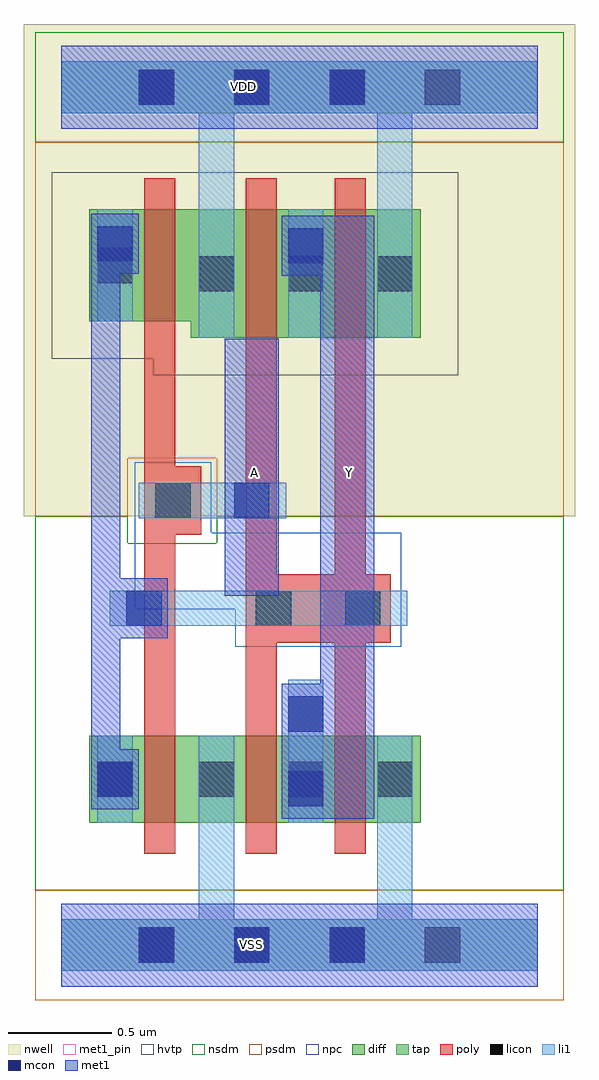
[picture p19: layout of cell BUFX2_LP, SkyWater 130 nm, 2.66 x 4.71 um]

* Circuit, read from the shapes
.subckt BUFX2_LP A VDD VSS Y
XM1 VSS A n1 VSS sky130_fd_pr__nfet_01v8 w=0.42 l=0.15
XM2 Y n1 VSS VSS sky130_fd_pr__nfet_01v8 w=0.42 l=0.15 m=2
XM3 VDD A n1 VDD sky130_fd_pr__pfet_01v8_hvt w=0.54 l=0.15
XM4 Y n1 VDD VDD sky130_fd_pr__pfet_01v8_hvt w=0.62 l=0.15 m=2
.ends

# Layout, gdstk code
from math import pi, radians
import gdstk
lib = gdstk.Library(unit=1e-6, precision=1e-09)
def R(c, l, rs):  # rectangles x0, y0, x1, y1
    for r in rs: c.add(gdstk.rectangle(r[:2], r[2:], *l))
def A(c, l, x, y, w, h, nx, ny, dx, dy):  # array of equal rectangles
    R(c, l, [(x+i*dx, y+j*dy, x+i*dx+w, y+j*dy+h) for i in range(nx) for j in range(ny)])
def P(c, l, *ps):  # polygons
    for p in ps: c.add(gdstk.Polygon(p, *l))
nwell = (64, 20)
diff = (65, 20)
tap = (65, 44)
poly = (66, 20)
licon = (66, 44)
li1 = (67, 20)
mcon = (67, 44)
met1_pin = (68, 16)
met1 = (68, 20)
hvtp = (78, 44)
nsdm = (93, 44)
psdm = (94, 20)
npc = (95, 20)

pyl1con_c_cdns_750721840 = lib.new_cell('PYL1CON_C_CDNS_750721840972')
R(pyl1con_c_cdns_750721840, poly, [(-0.135,-0.165,0.135,0.165)])
R(pyl1con_c_cdns_750721840, licon, [(-0.085,-0.085,0.085,0.085)])
R(pyl1con_c_cdns_750721840, npc, [(-0.185,-0.185,0.185,0.185)])

l1m1_c_cdns_750721840975 = lib.new_cell('L1M1_C_CDNS_750721840975')
R(l1m1_c_cdns_750721840975, li1, [(-0.085,-0.345,0.085,0.345)])
R(l1m1_c_cdns_750721840975, mcon, [(-0.085,-0.265,0.085,-0.095), (-0.085,0.095,0.085,0.265)])
R(l1m1_c_cdns_750721840975, met1, [(-0.115,-0.325,0.115,0.325)])

l1m1_c_cdns_750721840971 = lib.new_cell('L1M1_C_CDNS_750721840971')
R(l1m1_c_cdns_750721840971, li1, [(-0.085,-0.165,0.085,0.165)])
R(l1m1_c_cdns_750721840971, mcon, [(-0.085,-0.085,0.085,0.085)])
R(l1m1_c_cdns_750721840971, met1, [(-0.115,-0.145,0.115,0.145)])

l1m1_c_cdns_750721840973 = lib.new_cell('L1M1_C_CDNS_750721840973')
R(l1m1_c_cdns_750721840973, li1, [(-0.165,-0.085,0.165,0.085)])
R(l1m1_c_cdns_750721840973, mcon, [(-0.085,-0.085,0.085,0.085)])
R(l1m1_c_cdns_750721840973, met1, [(-0.115,-0.145,0.115,0.145)])

c_l1m1_c_cdns_750721840971 = lib.new_cell('L1M1_C_CDNS_7507218409714')
R(c_l1m1_c_cdns_750721840971, li1, [(-0.115,-0.165,0.055,0.165)])
R(c_l1m1_c_cdns_750721840971, mcon, [(-0.115,-0.085,0.055,0.085)])
R(c_l1m1_c_cdns_750721840971, met1, [(-0.145,-0.145,0.085,0.145)])

bufx2_lp = lib.new_cell('BUFX2_LP')
R(bufx2_lp, nwell, [(-0.18,2.07,2.48,4.305), (0.445,2.75,1.915,3.73), (-0.045,2.83,0.805,3.73), (-0.18,3.875,2.48,4.445)])
R(bufx2_lp, diff, [(0.135,0.59,0.4,1.01), (0.4,0.59,0.55,1.01), (0.55,0.59,0.625,1.01), (0.625,0.59,0.89,1.01), (0.89,0.59,1.04,1.01), (1.04,0.59,1.32,1.01), (1.32,0.59,1.47,1.01), (1.47,0.59,1.735,1.01), (0.625,2.93,0.89,3.55), (0.89,2.93,1.04,3.55), (1.04,2.93,1.32,3.55), (1.32,2.93,1.47,3.55), (1.47,2.93,1.735,3.55), (0.135,3.01,0.4,3.55), (0.4,3.01,0.55,3.55), (0.55,3.01,0.625,3.55)])
R(bufx2_lp, poly, [(0.4,0.44,0.55,0.495), (0.89,0.44,1.04,0.495), (1.32,0.44,1.47,0.495), (0.4,0.495,0.55,0.59), (0.89,0.495,1.04,0.59), (1.32,0.495,1.47,0.59), (0.4,0.59,0.55,1.01), (0.89,0.59,1.04,1.01), (1.32,0.59,1.47,1.01), (0.4,1.01,0.55,1.105), (0.89,1.01,1.04,1.105), (1.32,1.01,1.47,1.105), (0.4,1.105,0.55,1.16), (0.89,1.105,1.04,1.16), (1.32,1.105,1.47,1.16), (0.89,1.46,1.59,1.79), (0.89,2.78,1.04,2.835), (1.32,2.78,1.47,2.835), (0.89,2.835,1.04,2.93), (1.32,2.835,1.47,2.93), (0.4,2.86,0.55,2.915), (0.4,2.915,0.55,3.01), (0.89,2.93,1.04,3.55), (1.32,2.93,1.47,3.55), (0.4,3.01,0.55,3.55), (0.4,3.55,0.55,3.645), (0.89,3.55,1.04,3.645), (1.32,3.55,1.47,3.645), (0.4,3.645,0.55,3.7), (0.89,3.645,1.04,3.7), (1.32,3.645,1.47,3.7)])
A(bufx2_lp, licon, 0.375, -0.085, 0.17, 0.17, 4, 2, 0.46, 4.14)
A(bufx2_lp, licon, 0.665, 0.715, 0.17, 0.17, 3, 2, 0.43, 2.44)
R(bufx2_lp, licon, [(0.175,0.715,0.345,0.885), (0.175,3.195,0.345,3.365)])
A(bufx2_lp, li1, 0.665, 0.59, 0.17, 0.42, 3, 1, 0.43, 0)
A(bufx2_lp, li1, 0.665, 2.93, 0.17, 0.62, 3, 1, 0.43, 0)
R(bufx2_lp, li1, [(0.175,0.59,0.345,1.01), (0.175,3.01,0.345,3.55)])
A(bufx2_lp, mcon, 0.375, -0.085, 0.17, 0.17, 3, 2, 0.46, 4.14)
R(bufx2_lp, met1_pin, [(0.79,1.685,1.05,2.925), (1.25,1.685,1.51,2.925)])
R(bufx2_lp, hvtp, [(0.445,2.75,1.915,3.73), (-0.045,2.83,0.805,3.73)])
R(bufx2_lp, nsdm, [(-0.005,0.46,0.505,1.14), (0.485,0.46,1.875,1.14), (-0.125,3.875,2.425,4.405), (-0.125,3.93,2.425,4.35)])
P(bufx2_lp, nsdm, [(2.425,2.07),(0.75,2.07),(0.75,1.94),(0.32,1.94),(0.32,2.07),(-0.125,2.07),(-0.125,0.265),(2.425,0.265)])
R(bufx2_lp, psdm, [(-0.125,-0.265,2.425,0.265), (-0.125,-0.21,2.425,0.21), (0.485,2.8,1.875,3.68), (-0.005,2.88,0.505,3.68)])
P(bufx2_lp, psdm, [(2.425,3.875),(-0.125,3.875),(-0.125,2.07),(0.32,2.07),(0.32,2.35),(0.75,2.35),(0.75,2.07),(2.425,2.07)])
R(bufx2_lp, npc, [(0.84,1.44,1.64,1.99), (0.355,1.62,1.64,1.99)])
bufx2_lp.add(gdstk.FlexPath([(0.475,3.45),(0.475,1.075)], 0.15, ends="flush", simple_path=True, layer=66, datatype=20))  # poly
bufx2_lp.add(gdstk.FlexPath([(1.395,2.78),(1.395,1.5)], 0.15, ends="flush", simple_path=True, layer=66, datatype=20))  # poly
bufx2_lp.add(gdstk.FlexPath([(0.965,2.78),(0.965,1.5)], 0.15, ends="flush", simple_path=True, layer=66, datatype=20))  # poly
bufx2_lp.add(gdstk.FlexPath([(1.395,1.16),(1.395,1.79)], 0.15, ends="flush", simple_path=True, layer=66, datatype=20))  # poly
bufx2_lp.add(gdstk.FlexPath([(0.965,1.16),(0.965,1.79)], 0.15, ends="flush", simple_path=True, layer=66, datatype=20))  # poly
bufx2_lp.add(gdstk.FlexPath([(1.61,0.59),(1.61,0)], 0.17, ends=(0, 0.125), simple_path=True, layer=67, datatype=20))  # li1
bufx2_lp.add(gdstk.FlexPath([(0.75,0),(0.69,0)], 0.17, ends=(0.085, 0), simple_path=True, layer=67, datatype=20))  # li1
bufx2_lp.add(gdstk.FlexPath([(0.75,0.59),(0.75,0)], 0.17, ends=(0, 0.085), simple_path=True, layer=67, datatype=20))  # li1
bufx2_lp.add(gdstk.FlexPath([(1.61,3.55),(1.61,4.14)], 0.17, ends=(0, 0.125), simple_path=True, layer=67, datatype=20))  # li1
bufx2_lp.add(gdstk.FlexPath([(0.75,4.14),(0.69,4.14)], 0.17, ends=(0.085, 0), simple_path=True, layer=67, datatype=20))  # li1
bufx2_lp.add(gdstk.FlexPath([(0.92,2.145),(0.71,2.145)], 0.17, ends="flush", simple_path=True, layer=67, datatype=20))  # li1
bufx2_lp.add(gdstk.FlexPath([(0,4.14),(2.3,4.14)], 0.25, ends="flush", simple_path=True, layer=67, datatype=20))  # li1
bufx2_lp.add(gdstk.FlexPath([(0.71,2.145),(0.375,2.145)], 0.17, ends="flush", simple_path=True, layer=67, datatype=20))  # li1
bufx2_lp.add(gdstk.FlexPath([(0.75,3.55),(0.75,4.14)], 0.17, ends=(0, 0.085), simple_path=True, layer=67, datatype=20))  # li1
bufx2_lp.add(gdstk.FlexPath([(0.305,1.625),(1.67,1.625)], 0.17, ends="flush", simple_path=True, layer=67, datatype=20))  # li1
bufx2_lp.add(gdstk.FlexPath([(0,0),(2.3,0)], 0.25, ends="flush", simple_path=True, layer=67, datatype=20))  # li1
bufx2_lp.add(gdstk.FlexPath([(0.92,1.685),(0.92,2.925)], 0.26, ends="flush", simple_path=True, layer=68, datatype=20))  # met1
bufx2_lp.add(gdstk.FlexPath([(0.215,0.8),(0.23,0.8)], 0.14, ends=(0.07, 0), simple_path=True, layer=68, datatype=20))  # met1
bufx2_lp.add(gdstk.FlexPath([(1.38,0.61),(1.38,3.52)], 0.26, ends="flush", simple_path=True, layer=68, datatype=20))  # met1
bufx2_lp.add(gdstk.FlexPath([(0,0),(2.3,0)], 0.4, ends="flush", simple_path=True, layer=68, datatype=20))  # met1
bufx2_lp.add(gdstk.FlexPath([(0.215,3.46),(0.215,0.8)], 0.14, ends="extended", simple_path=True, layer=68, datatype=20))  # met1
bufx2_lp.add(gdstk.FlexPath([(0,4.14),(2.3,4.14)], 0.4, ends="flush", simple_path=True, layer=68, datatype=20))  # met1
bufx2_lp.add(gdstk.FlexPath([(0,4.14),(2.3,4.14)], 0.25, ends="flush", simple_path=True, layer=65, datatype=44))  # tap
bufx2_lp.add(gdstk.FlexPath([(0,0),(2.3,0)], 0.25, ends="flush", simple_path=True, layer=65, datatype=44))  # tap
bufx2_lp.add(gdstk.FlexPath([(0,4.14),(2.3,4.14)], 0.4, ends="flush", simple_path=True, layer=68, datatype=16))  # met1_pin
bufx2_lp.add(gdstk.FlexPath([(0,0),(2.3,0)], 0.4, ends="flush", simple_path=True, layer=68, datatype=16))  # met1_pin
bufx2_lp.add(gdstk.Reference(pyl1con_c_cdns_750721840, (1.025,1.625), rotation=pi))
bufx2_lp.add(gdstk.Reference(pyl1con_c_cdns_750721840, (0.54,2.145), x_reflection=True))
bufx2_lp.add(gdstk.Reference(pyl1con_c_cdns_750721840, (1.455,1.625), rotation=pi))
bufx2_lp.add(gdstk.Reference(l1m1_c_cdns_750721840975, (1.18,0.935)))
bufx2_lp.add(gdstk.Reference(l1m1_c_cdns_750721840971, (0.26,3.385), rotation=pi, x_reflection=True))
bufx2_lp.add(gdstk.Reference(l1m1_c_cdns_750721840971, (1.18,3.375)))
bufx2_lp.add(gdstk.Reference(l1m1_c_cdns_750721840973, (0.4,1.625)))
bufx2_lp.add(gdstk.Reference(l1m1_c_cdns_750721840973, (0.92,2.145), x_reflection=True))
bufx2_lp.add(gdstk.Reference(c_l1m1_c_cdns_750721840971, (0.23,0.8), rotation=pi, x_reflection=True))
bufx2_lp.add(gdstk.Label('Y', (1.39,2.28), layer=68, texttype=5))
bufx2_lp.add(gdstk.Label('A', (0.935,2.28), layer=68, texttype=5))
bufx2_lp.add(gdstk.Label('VDD', (0.88,4.145), layer=68, texttype=5))
bufx2_lp.add(gdstk.Label('VSS', (0.92,0.005), layer=68, texttype=5))

lib.write_gds('BUFX2_LP.gds')
